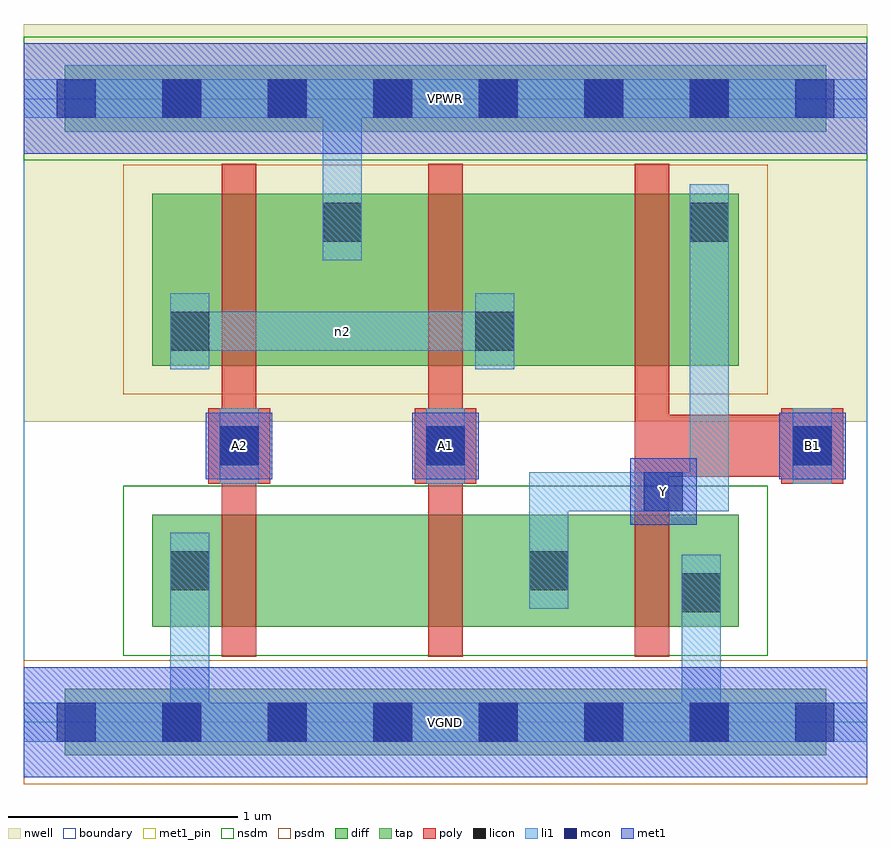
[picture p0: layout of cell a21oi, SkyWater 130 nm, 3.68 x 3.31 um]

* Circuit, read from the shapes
.subckt a21oi A1 A2 B1 VGND VPWR Y n2
XM1 n1 A2 VGND VGND sky130_fd_pr__nfet_01v8 w=0.49 l=0.15
XM2 Y A1 n1 VGND sky130_fd_pr__nfet_01v8 w=0.49 l=0.15
XM3 VGND B1 Y VGND sky130_fd_pr__nfet_01v8 w=0.49 l=0.15
XM4 VPWR A2 n2 VPWR sky130_fd_pr__pfet_01v8 w=0.75 l=0.15
XM5 n2 A1 VPWR VPWR sky130_fd_pr__pfet_01v8 w=0.75 l=0.15
XM6 Y B1 n2 VPWR sky130_fd_pr__pfet_01v8 w=0.75 l=0.15
.ends

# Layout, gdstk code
import gdstk
lib = gdstk.Library(unit=1e-6, precision=1e-09)
def R(c, l, rs):  # rectangles x0, y0, x1, y1
    for r in rs: c.add(gdstk.rectangle(r[:2], r[2:], *l))
def A(c, l, x, y, w, h, nx, ny, dx, dy):  # array of equal rectangles
    R(c, l, [(x+i*dx, y+j*dy, x+i*dx+w, y+j*dy+h) for i in range(nx) for j in range(ny)])
nwell = (64, 20)
diff = (65, 20)
tap = (65, 44)
poly = (66, 20)
licon = (66, 44)
li1 = (67, 20)
mcon = (67, 44)
met1_pin = (68, 16)
met1 = (68, 20)
nsdm = (93, 44)
psdm = (94, 20)
boundary = (235, 4)

a21oi = lib.new_cell('a21oi')
R(a21oi, nwell, [(0,1.31,3.68,3.045)])
R(a21oi, diff, [(0.56,0.415,3.12,0.905), (0.56,1.555,3.12,2.305)])
R(a21oi, tap, [(0.18,-0.145,3.5,0.145), (0.18,2.575,3.5,2.865)])
A(a21oi, poly, 0.865, 0.285, 0.15, 2.15, 3, 1, 0.9, 0)
R(a21oi, poly, [(0.805,1.04,1.075,1.37), (1.705,1.04,1.975,1.37), (3.305,1.04,3.575,1.37), (2.665,1.07,3.44,1.34)])
A(a21oi, licon, 0.605, -0.085, 0.17, 0.17, 6, 2, 0.46, 2.72)
R(a21oi, licon, [(2.87,0.48,3.04,0.65), (0.64,0.575,0.81,0.745), (2.205,0.575,2.375,0.745), (0.855,1.12,1.025,1.29), (1.755,1.12,1.925,1.29), (3.355,1.12,3.525,1.29), (0.64,1.62,0.81,1.79), (1.97,1.62,2.14,1.79), (1.305,2.095,1.475,2.265), (2.905,2.095,3.075,2.265)])
R(a21oi, li1, [(0,-0.085,3.68,0.085), (0.64,-0.085,0.81,0.825), (2.87,-0.085,3.04,0.73), (2.87,0.4,3.04,0.73), (0.64,0.495,0.81,0.825), (2.205,0.495,2.375,0.825), (2.205,0.66,2.375,1.09), (2.205,0.92,3.075,1.09), (2.905,0.92,3.075,2.265), (0.855,1.04,1.025,1.37), (1.755,1.04,1.925,1.37), (3.355,1.04,3.525,1.37), (0.64,1.54,0.81,1.87), (1.97,1.54,2.14,1.87), (0.64,1.62,2.14,1.79), (1.305,2.015,1.475,2.345), (1.305,2.015,1.475,2.805), (2.905,2.015,3.075,2.345), (0,2.635,3.68,2.805)])
A(a21oi, mcon, 0.145, -0.085, 0.17, 0.17, 8, 2, 0.46, 2.72)
R(a21oi, mcon, [(2.705,0.92,2.875,1.09), (0.855,1.12,1.025,1.29), (1.755,1.12,1.925,1.29), (3.355,1.12,3.525,1.29)])
R(a21oi, met1_pin, [(0,-0.24,3.68,0.24), (2.645,0.86,2.935,1.15), (0.795,1.06,1.085,1.35), (1.695,1.06,1.985,1.35), (3.295,1.06,3.585,1.35), (0,2.48,3.68,2.96)])
R(a21oi, met1, [(0,-0.24,3.68,0.24), (2.645,0.86,2.935,1.15), (0.795,1.06,1.085,1.35), (1.695,1.06,1.985,1.35), (3.295,1.06,3.585,1.35), (0,2.48,3.68,2.96)])
R(a21oi, nsdm, [(0.435,0.29,3.245,1.03), (0,2.45,3.68,2.99)])
R(a21oi, psdm, [(0,-0.27,3.68,0.27), (0.435,1.43,3.245,2.43)])
R(a21oi, boundary, [(0,0,3.68,2.72)])
a21oi.add(gdstk.Label('n2', (1.39,1.705), layer=67, texttype=5))
a21oi.add(gdstk.Label('A2', (0.94,1.205), layer=68, texttype=5))
a21oi.add(gdstk.Label('A1', (1.84,1.205), layer=68, texttype=5))
a21oi.add(gdstk.Label('B1', (3.44,1.205), layer=68, texttype=5))
a21oi.add(gdstk.Label('Y', (2.79,1.005), layer=68, texttype=5))
a21oi.add(gdstk.Label('VPWR', (1.84,2.72), layer=68, texttype=5))
a21oi.add(gdstk.Label('VGND', (1.84,0), layer=68, texttype=5))
a21oi.add(gdstk.Label('A2', (0.94,1.205), layer=68, texttype=16))
a21oi.add(gdstk.Label('A1', (1.84,1.205), layer=68, texttype=16))
a21oi.add(gdstk.Label('B1', (3.44,1.205), layer=68, texttype=16))
a21oi.add(gdstk.Label('Y', (2.79,1.005), layer=68, texttype=16))
a21oi.add(gdstk.Label('VPWR', (1.84,2.72), layer=68, texttype=16))
a21oi.add(gdstk.Label('VGND', (1.84,0), layer=68, texttype=16))

lib.write_gds('a21oi.gds')
